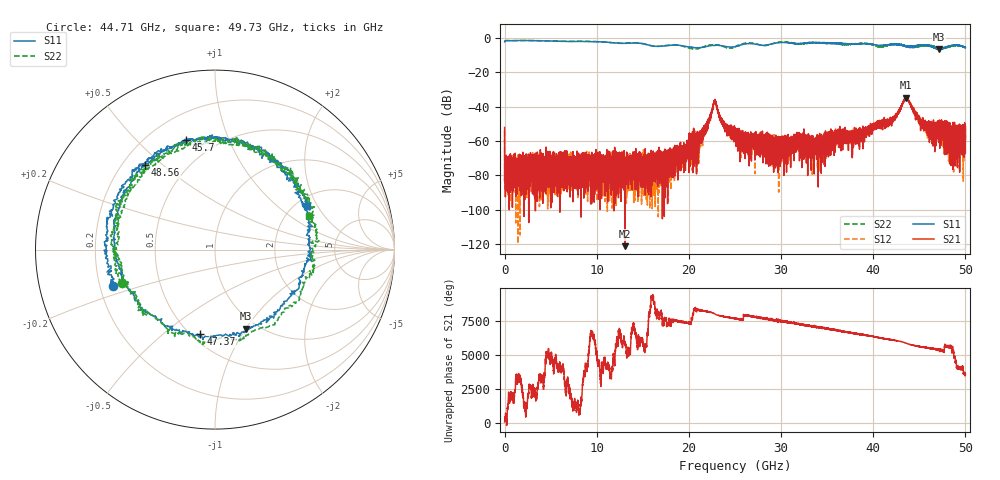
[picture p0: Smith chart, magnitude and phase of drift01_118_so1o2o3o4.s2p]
!Created with skrf (http://scikit-rf.org).
# Hz S RI R 50.0
!freq ReS11 ImS11 ReS21 ImS21 ReS12 ImS12 ReS22 ImS22
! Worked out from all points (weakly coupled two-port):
!   10001 points, 300 kHz to 50 GHz, reference 50 ohm
!   highest |S21| = -34.67 dB at 43.56 GHz (marker M1); lowest = -121.3 dB at 13.04 GHz (marker M2)
!   lowest |S11| = -6.5 dB at 47.15 GHz (marker M3), VSWR 2.81, Z = 44.2 - j50.4 ohm
!   |S11| at or under -10 dB: nowhere
!   |S22| runs from -6.4 to -1.4 dB; largest |S21 - S12| = 0.0037
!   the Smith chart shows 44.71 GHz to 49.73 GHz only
!   S11 on the Smith chart (normalised r, x): 44.71 GHz: 0.25, -0.16; 45.7 GHz: 0.35, +0.71; 47.37 GHz: 0.55, -0.68; 48.56 GHz: 0.29, +0.44; 49.73 GHz: 2.29, +1.65
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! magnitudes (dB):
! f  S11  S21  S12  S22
! 300 kHz  -2.2  -52.1  -54.0  -2.1
! 255.3 MHz  -1.4  -69.9  -83.0  -1.4
! 460.3 MHz  -1.4  -78.0  -80.2  -1.4
! 8.335 GHz  -1.9  -75.7  -72.1  -1.8
! 13.04 GHz  -3.1  -121.3  -72.6  -2.8
! 16.67 GHz  -4.8  -71.4  -104.1  -4.8
! 20.78 GHz  -5.6  -64.6  -55.5  -6.2
! 21.96 GHz  -4.8  -49.9  -50.5  -4.4
! 22.79 GHz  -4.3  -36.6  -36.3  -4.0
! 23.89 GHz  -4.8  -52.5  -50.7  -5.3
! 25 GHz  -5.0  -54.0  -55.6  -5.0
! 29.42 GHz  -2.9  -60.3  -59.3  -2.7
! 33.34 GHz  -2.5  -59.5  -63.9  -2.7
! 41.67 GHz  -3.9  -48.0  -49.4  -4.3
! 43.56 GHz  -4.7  -34.7  -35.0  -4.7
! 44.71 GHz  -4.3  -43.8  -45.1  -5.2
! 45.7 GHz  -4.0  -52.4  -53.7  -4.3
! 47.15 GHz  -6.5  -53.7  -54.3  -5.9
! 47.37 GHz  -6.4  -51.9  -55.3  -5.9
! 48.56 GHz  -4.3  -58.6  -59.5  -4.6
! 49.73 GHz  -4.9  -58.0  -55.0  -5.1
! 50 GHz  -5.5  -59.3  -56.2  -5.3
